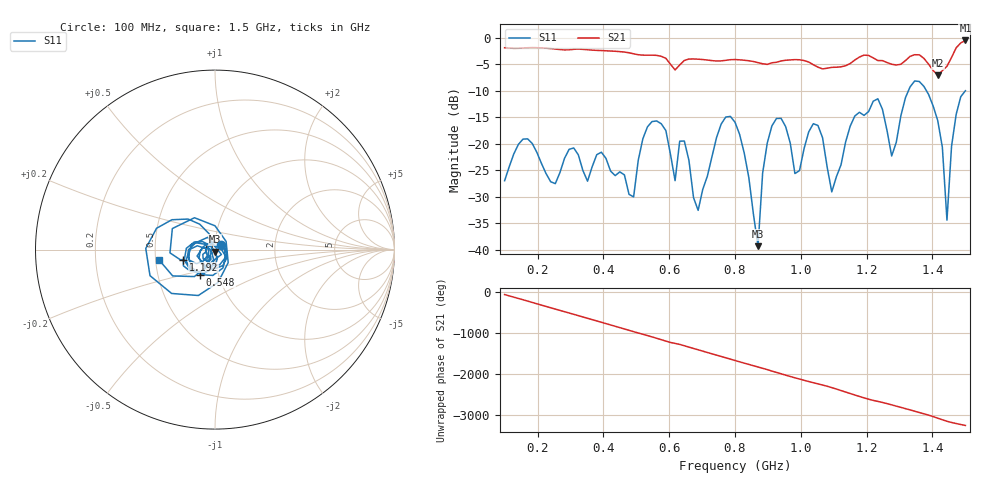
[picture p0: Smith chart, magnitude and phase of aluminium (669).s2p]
! NanoVNA-App
! Date: 2025-09-25 15:00:29
! Start: 100MHz Stop: 1,5GHz Points: 101
! S-Parameter data: F S11 S21 S12 S22
# Hz S RI R 50
!  Frequency  S11_Real  S11_Imag  S21_Real  S21_Imag  S12_Real  S12_Imag  S22_Real  S22_Imag
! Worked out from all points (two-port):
!   101 points, 100 MHz to 1.5 GHz, reference 50 ohm
!   highest |S21| = -0.55 dB at 1.5 GHz (marker M1); lowest = -7.1 dB at 1.416 GHz (marker M2)
!   |S21| within 3 dB of the highest: start of sweep to 576.7 MHz; 1.332 GHz to 1.366 GHz (34.32 MHz wide, 2.54 % of centre) (the widest 2 of 4)
!   lowest |S11| = -39.3 dB at 870 MHz (marker M3), VSWR 1.02, Z = 50.2 - j1.07 ohm
!   |S11| at or under -10 dB: start of sweep to 1.327 GHz; 1.381 GHz to end of sweep
!   S12 and S22 are empty: the file has one direction only
!   S11 on the Smith chart (normalised r, x): 100 MHz: 1.07, +0.06; 548 MHz: 0.82, -0.23; 1.192 GHz: 0.70, -0.08; 1.5 GHz: 0.52, -0.07
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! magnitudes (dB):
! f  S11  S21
! 100 MHz  -27.0  -1.9
! 156 MHz  -19.1  -2.0
! 338 MHz  -25.1  -2.2
! 492 MHz  -30.0  -3.1
! 548 MHz  -15.8  -3.3
! 576 MHz  -16.2  -3.5
! 646 MHz  -19.5  -4.3
! 688 MHz  -32.5  -4.1
! 800 MHz  -15.9  -4.1
! 870 MHz  -39.3  -4.7
! 912 MHz  -16.7  -4.8
! 982 MHz  -25.6  -4.2
! 1.038 GHz  -16.2  -5.1
! 1.094 GHz  -29.1  -5.6
! 1.192 GHz  -14.7  -3.3
! 1.234 GHz  -11.5  -4.3
! 1.276 GHz  -22.3  -5.0
! 1.346 GHz  -8.2  -3.2
! 1.416 GHz  -15.6  -7.1
! 1.444 GHz  -34.4  -5.4
! 1.458 GHz  -20.4  -3.7
! 1.5 GHz  -10.0  -0.6
